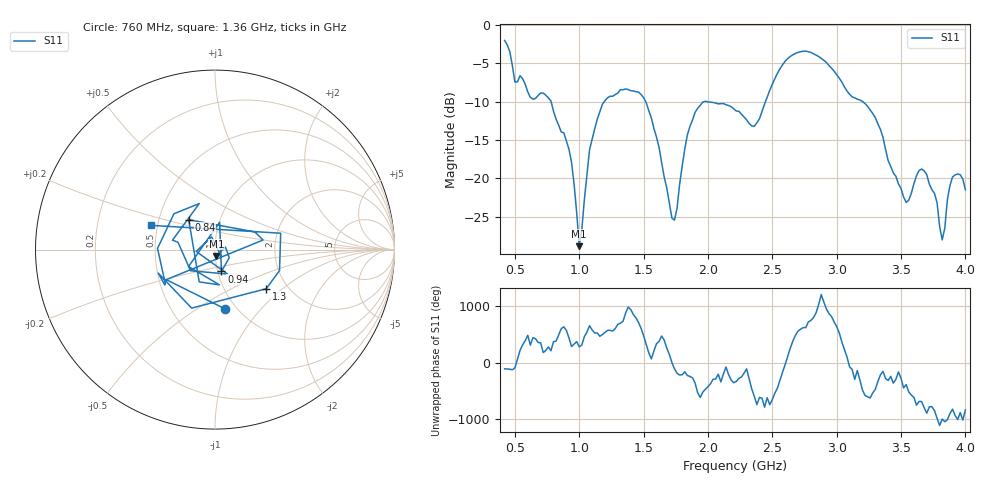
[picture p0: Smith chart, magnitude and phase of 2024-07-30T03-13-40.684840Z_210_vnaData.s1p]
!Created with skrf (http://scikit-rf.org).
# Hz S RI R 50.0
!freq ReS11 ImS11
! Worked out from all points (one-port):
!   180 points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, 420 MHz to 4 GHz, reference 50 ohm
!   lowest |S11| = -28.8 dB at 1 GHz (marker M1), VSWR 1.08, Z = 50.6 - j3.59 ohm
!   |S11| at or under -10 dB: 1.516 GHz to 1.973 GHz (457.2 MHz wide, 26.2 % of centre); 1.989 GHz to 2.447 GHz (458.4 MHz wide, 20.7 % of centre); 3.201 GHz to end of sweep (the widest 3 of 4)
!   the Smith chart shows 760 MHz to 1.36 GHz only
!   S11 on the Smith chart (normalised r, x): 760 MHz: 0.89, -0.66; 840 MHz: 0.71, +0.25; 940 MHz: 1.04, -0.26; 1.3 GHz: 1.56, -0.78; 1.36 GHz: 0.46, +0.15
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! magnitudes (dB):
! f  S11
! 420 MHz  -2.0
! 500 MHz  -7.5
! 760 MHz  -9.5
! 840 MHz  -13.1
! 880 MHz  -14.1
! 940 MHz  -17.9
! 1 GHz  -28.8
! 1.08 GHz  -16.3
! 1.12 GHz  -13.5
! 1.3 GHz  -8.9
! 1.32 GHz  -8.5
! 1.36 GHz  -8.4
! 1.52 GHz  -10.1
! 1.72 GHz  -25.2
! 1.78 GHz  -20.7
! 1.84 GHz  -14.3
! 1.92 GHz  -10.9
! 2.22 GHz  -11.2
! 2.36 GHz  -13.2
! 2.66 GHz  -3.9
! 3.12 GHz  -9.4
! 3.3 GHz  -12.1
! 3.56 GHz  -22.8
! 3.68 GHz  -19.0
! 3.78 GHz  -23.2
! 3.82 GHz  -28.0
! 3.9 GHz  -19.8
! 4 GHz  -21.5
